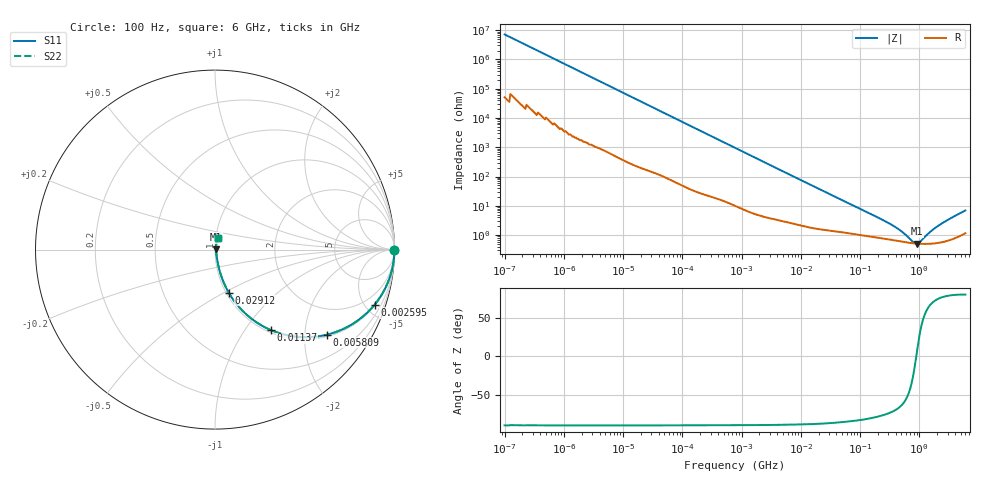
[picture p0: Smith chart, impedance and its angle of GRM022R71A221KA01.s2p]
!Murata Part Number: GRM022R71A221KA01
!These Parameters are Measured in Series Mode Connection
!Data Generated on Mar 30, 2021
!  o--ll--o
!Port1  Port2
!  o------o
!Operation Temp=25[degC], DC Bias Voltage=0[V]
!Freq. Start=100[Hz] Stop=6[GHz] 401[Steps]
# Hz S RI R 50
!Freq.(Hz) S11(Real) S11(Imag) S21(Real) S21(Imag) S12(Real) S12(Imag) S22(Real) S22(Imag)
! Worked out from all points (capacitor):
!   401 points, 100 Hz to 6 GHz, reference 50 ohm
!   read as one part in series: C = 222 pF near 109 Hz
!   lowest |Z| = 512 mohm at 915.1 MHz (marker M1)
!   series resonance near 888.6 MHz, so ESL is about 140 pH
!   S11 on the Smith chart (normalised r, x): 100 Hz: open; 2.595 MHz: 1.08, -5.75; 5.809 MHz: 1.06, -2.58; 11.37 MHz: 1.04, -1.33; 29.12 MHz: 1.03, -0.52; 6 GHz: 1.02, +0.14
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100  1 -1.4e-05  1e-07 1.4e-05  1e-07 1.4e-05  1 -1.4e-05
686  1 -9.49e-05  6e-07 9.49e-05  6e-07 9.49e-05  1 -9.49e-05
2008  1 -0.000277  1.4e-06 0.000277  1.4e-06 0.000277  1 -0.000277
40335  0.9999 -0.00552  6.55e-05 0.00552  6.55e-05 0.00552  0.9999 -0.00552
241822  0.9987 -0.0328  0.00133 0.0328  0.00133 0.0328  0.9987 -0.0328
774597  0.9882 -0.1031  0.0118 0.1031  0.0118 0.1031  0.9882 -0.1031
1585629  0.9545 -0.2028  0.0455 0.2028  0.0455 0.2028  0.9545 -0.2028
2594782  0.8888 -0.3075  0.1112 0.3075  0.1112 0.3075  0.8888 -0.3075
3882480  0.7838 -0.4031  0.2162 0.4031  0.2162 0.4031  0.7838 -0.4031
5809218  0.6231 -0.474  0.3769 0.474  0.3769 0.474  0.6231 -0.474
1.137099e7  0.312 -0.4486  0.688 0.4486  0.688 0.4486  0.312 -0.4486
1.555665e7  0.2007 -0.3831  0.7993 0.3831  0.7993 0.3831  0.2007 -0.3831
2.911731e7  0.076 -0.2391  0.924 0.2391  0.924 0.2391  0.076 -0.2391
7.797396e7  0.0203 -0.097  0.9797 0.097  0.9797 0.097  0.0203 -0.097
3.124326e8  0.00753 -0.0234  0.9925 0.0234  0.9925 0.0234  0.00753 -0.0234
4.888888e8  0.00612 -0.0124  0.9939 0.0124  0.9939 0.0124  0.00612 -0.0124
8.000355e8  0.00519 -0.00212  0.9948 0.00212  0.9948 0.00212  0.00519 -0.00212
9.150511e8  0.00506 0.000599  0.9949 -0.000599  0.9949 -0.000599  0.00506 0.000599
1.046602e9  0.00499 0.00336  0.995 -0.00336  0.995 -0.00336  0.00499 0.00336
1.497423e9  0.00512 0.0112  0.9949 -0.0112  0.9949 -0.0112  0.00512 0.0112
2.142435e9  0.00582 0.0206  0.9942 -0.0206  0.9942 -0.0206  0.00582 0.0206
6e9  0.0159 0.0666  0.9841 -0.0666  0.9841 -0.0666  0.0159 0.0666
